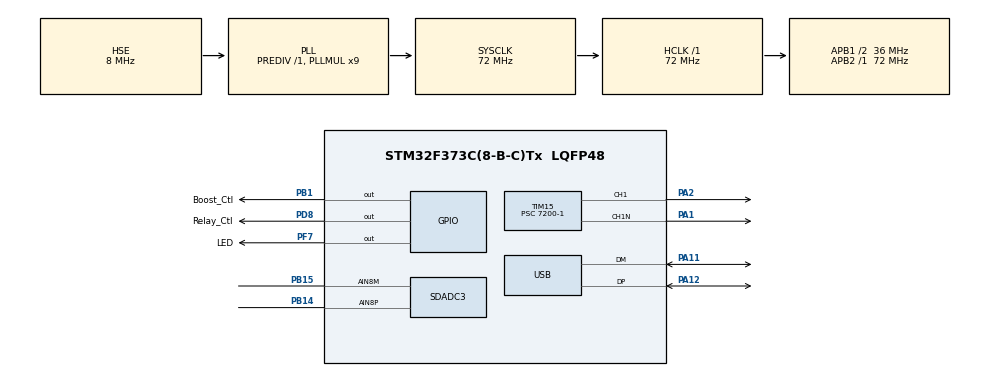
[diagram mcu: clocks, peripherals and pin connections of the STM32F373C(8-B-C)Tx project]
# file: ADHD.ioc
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Mcu.Family=STM32F3
Mcu.Name=STM32F373C(8-B-C)Tx
Mcu.Package=LQFP48
NVIC.PriorityGroup=NVIC_PRIORITYGROUP_4
NVIC.TIM2_IRQn=true\:1\:0\:true\:false\:true\:true\:true\:true
NVIC.TIM3_IRQn=true\:1\:0\:true\:false\:true\:true\:true\:true
NVIC.USB_LP_IRQn=true\:0\:0\:false\:false\:true\:false\:true\:true
PA1.Mode=PWM Generation1 CH1 CH1N
PA1.Signal=TIM15_CH1N
PA11.Mode=Device
PA11.Signal=USB_DM
PA12.Mode=Device
PA12.Signal=USB_DP
PA13.Mode=Serial_Wire
PA13.Signal=SYS_JTMS-SWDIO
PA14.Mode=Serial_Wire
PA14.Signal=SYS_JTCK-SWCLK
PA2.Signal=S_TIM15_CH1
PB1.GPIO_Label=Boost_Ctl
PB1.PinState=GPIO_PIN_SET
PB1.Signal=GPIO_Output
PB14.Mode=IN8-Single-Ended zero reference
PB14.Signal=SDADC3_AIN8P
PB15.Mode=IN8-Differential
PB15.Signal=SDADC3_AIN8M
PD8.GPIO_Label=Relay_Ctl
PD8.PinState=GPIO_PIN_RESET
PD8.Signal=GPIO_Output
PF0-OSC_IN.Mode=HSE-External-Oscillator
PF0-OSC_IN.Signal=RCC_OSC_IN
PF1-OSC_OUT.Mode=HSE-External-Oscillator
PF1-OSC_OUT.Signal=RCC_OSC_OUT
PF7.GPIO_Label=LED
PF7.Signal=GPIO_Output
ProjectManager.HeapSize=0x200
ProjectManager.StackSize=0x400
ProjectManager.TargetToolchain=MDK-ARM V5.32
RCC.AHBFreq_Value=72000000
RCC.APB1CLKDivider=RCC_HCLK_DIV2
RCC.APB1Freq_Value=36000000
RCC.APB1TimFreq_Value=72000000
RCC.APB2Freq_Value=72000000
RCC.APB2TimFreq_Value=72000000
RCC.CortexFreq_Value=72000000
RCC.HCLKFreq_Value=72000000
RCC.HSE_VALUE=8000000
RCC.HSI_VALUE=8000000
RCC.LSE_VALUE=32768
RCC.PLLMUL=RCC_PLL_MUL9
RCC.PRESCALERUSB=RCC_USBCLKSOURCE_PLL_DIV1_5
RCC.SDADCPresc=RCC_SDADCSYSCLK_DIV12
RCC.SYSCLKFreq_VALUE=72000000
RCC.SYSCLKSource=RCC_SYSCLKSOURCE_PLLCLK
RCC.USBFreq_Value=48000000
SDADC3.Channel-0\#ChannelRegularConversion=SDADC_CHANNEL_8
SDADC3.ConfIndex-0\#ChannelRegularConversion=SDADC_CONF_INDEX_0
SDADC3.ContinuousMode=SDADC_CONTINUOUS_CONV_ON
SDADC3.EnableInjectedConversion=DISABLE
SDADC3.EnableRegularconversion=ENABLE
SDADC3.Gain0=SDADC_GAIN_1_2
SDADC3.Gain1=SDADC_GAIN_1_2
SDADC3.InputMode0=SDADC_INPUT_MODE_SE_ZERO_REFERENCE
SDADC3.InputMode1=SDADC_INPUT_MODE_DIFF
SDADC3.NbrOfConversionFlag=1
SDADC3.ReferenceVoltage=SDADC_VREF_VREFINT2
SH.S_TIM15_CH1.0=TIM15_CH1,PWM Generation1 CH1 CH1N
TIM15.Channel-PWM\ Generation1\ CH1\ CH1N=TIM_CHANNEL_1
TIM15.Period=1000-1
TIM15.Prescaler=7200-1
TIM15.Pulse-PWM\ Generation1\ CH1\ CH1N=500
TIM2.Period=24000-1
TIM3.Period=1000-1
TIM3.Prescaler=720-1
USB_DEVICE.CLASS_NAME_FS=CUSTOM_HID
USB_DEVICE.CUSTOM_HID_FS_BINTERVAL=0x1
USB_DEVICE.MANUFACTURER_STRING=PhysioData
USB_DEVICE.PID_CUSTOMHID_FS=0xFA8
USB_DEVICE.PRODUCT_STRING_CUSTOMHID_FS=PhysioAmp GP-8
USB_DEVICE.USBD_CUSTOMHID_OUTREPORT_BUF_SIZE=64
USB_DEVICE.USBD_CUSTOM_HID_REPORT_DESC_SIZE=46
USB_DEVICE.VID=0xEA9
USB_DEVICE.VirtualMode=CustomHid
USB_DEVICE.VirtualModeFS=Custom_Hid_FS
VP_SDADC3_CONF0.Mode=ConfigZero
VP_SDADC3_CONF1.Mode=ConfigUn
VP_TIM15_VS_ClockSourceINT.Mode=Internal
VP_TIM2_VS_ClockSourceINT.Mode=Internal
VP_TIM3_VS_ClockSourceINT.Mode=Internal
VP_USB_DEVICE_VS_USB_DEVICE_CUSTOM_HID_FS.Mode=CUSTOM_HID_FS
board=custom

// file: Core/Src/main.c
/* USER CODE BEGIN Header */
/**
  ******************************************************************************
  * @file           : main.c
  * @brief          : Main program body
  ******************************************************************************
  * @attention
  *
  * Copyright (c) 2026 STMicroelectronics.
  * All rights reserved.
  *
  * This software is licensed under terms that can be found in the LICENSE file
  * in the root directory of this software component.
  * If no LICENSE file comes with this software, it is provided AS-IS.
  *
  ******************************************************************************
  */
/* USER CODE END Header */
#include "main.h"
#include "sdadc.h"
#include "tim.h"
#include "usb_device.h"
#include "gpio.h"

/* USER CODE BEGIN Includes */
#include "app_hid_handler.h"
#include "usbd_customhid.h"
/* USER CODE END Includes */

/* USER CODE BEGIN PD */
#define SIGNAL_SAMPLE_AUTORELOAD       (24000U - 1U)
#define IMPEDANCE_SAMPLE_AUTORELOAD    (72000U - 1U)
/* USER CODE END PD */

/* USER CODE BEGIN PV */
static WorkMode applied_mode = MODE_SIGNAL;
static uint8_t impedance_pwm_running = 0U;
/* USER CODE END PV */

void SystemClock_Config(void);
/* USER CODE BEGIN PFP */
static void APP_ApplyWorkMode(WorkMode mode);
static void APP_UpdateAcquisitionHardware(void);
static void APP_StartImpedanceExcitation(void);
static void APP_StopImpedanceExcitation(void);
static void APP_SynchronizeStreamStart(void);
/* USER CODE END PFP */

/* USER CODE BEGIN 0 */
static void APP_StartImpedanceExcitation(void)
{
  if(impedance_pwm_running == 0U)
  {
    __HAL_TIM_SET_COUNTER(&htim15, 0U);
    __HAL_TIM_CLEAR_FLAG(&htim15, TIM_FLAG_UPDATE);

    if(HAL_TIM_PWM_Start(&htim15, TIM_CHANNEL_1) != HAL_OK)
    {
      Error_Handler();
    }
    if(HAL_TIMEx_PWMN_Start(&htim15, TIM_CHANNEL_1) != HAL_OK)
    {
      (void)HAL_TIM_PWM_Stop(&htim15, TIM_CHANNEL_1);
      Error_Handler();
    }
    impedance_pwm_running = 1U;
  }
}

static void APP_StopImpedanceExcitation(void)
{
  if(impedance_pwm_running != 0U)
  {
    if(HAL_TIMEx_PWMN_Stop(&htim15, TIM_CHANNEL_1) != HAL_OK)
    {
      Error_Handler();
    }
    if(HAL_TIM_PWM_Stop(&htim15, TIM_CHANNEL_1) != HAL_OK)
    {
      Error_Handler();
    }
    impedance_pwm_running = 0U;
  }
}

static void APP_ApplyWorkMode(WorkMode mode)
{
  uint32_t sample_autoreload;

  if(HAL_TIM_Base_Stop_IT(&htim2) != HAL_OK)
  {
    Error_Handler();
  }
  if(mode == MODE_IMPEDANCE)
  {
    sample_autoreload = IMPEDANCE_SAMPLE_AUTORELOAD;
    HAL_GPIO_WritePin(Boost_Ctl_GPIO_Port, Boost_Ctl_Pin, GPIO_PIN_RESET);
  }
  else
  {
    sample_autoreload = SIGNAL_SAMPLE_AUTORELOAD;
    HAL_GPIO_WritePin(Boost_Ctl_GPIO_Port, Boost_Ctl_Pin, GPIO_PIN_SET);
  }

  __HAL_TIM_SET_AUTORELOAD(&htim2, sample_autoreload);
  __HAL_TIM_SET_COUNTER(&htim2, 0U);
  __HAL_TIM_CLEAR_FLAG(&htim2, TIM_FLAG_UPDATE);

  if(HAL_TIM_Base_Start_IT(&htim2) != HAL_OK)
  {
    Error_Handler();
  }
  applied_mode = mode;
}

static void APP_SynchronizeStreamStart(void)
{
  uint32_t primask;

  if(HAL_TIM_Base_Stop_IT(&htim2) != HAL_OK)
  {
    Error_Handler();
  }
  APP_StopImpedanceExcitation();

  __HAL_TIM_SET_COUNTER(&htim15, 0U);
  __HAL_TIM_SET_COUNTER(&htim2, 0U);
  __HAL_TIM_CLEAR_FLAG(&htim15, TIM_FLAG_UPDATE);
  __HAL_TIM_CLEAR_FLAG(&htim2, TIM_FLAG_UPDATE);

  primask = __get_PRIMASK();
  __disable_irq();

  if(current_mode == MODE_IMPEDANCE)
  {
    APP_StartImpedanceExcitation();
  }
  if(HAL_TIM_Base_Start_IT(&htim2) != HAL_OK)
  {
    Error_Handler();
  }
  /* 最后进入流状态，保证 TIM2 不会在激励启动前写入首个样本。 */
  comm_state = STATE_STREAMING;
  __set_PRIMASK(primask);
}

static void APP_UpdateAcquisitionHardware(void)
{
  uint8_t excitation_required;

  if(current_mode != applied_mode)
  {
    APP_StopImpedanceExcitation();
    APP_ApplyWorkMode(current_mode);
  }

  if(comm_state == STATE_START_STREAMING)
  {
    APP_SynchronizeStreamStart();
    return;
  }

  excitation_required = ((current_mode == MODE_IMPEDANCE) &&
                         (comm_state == STATE_STREAMING)) ? 1U : 0U;

  if((excitation_required != 0U) && (impedance_pwm_running == 0U))
  {
    APP_StartImpedanceExcitation();
  }
  else if(excitation_required == 0U)
  {
    APP_StopImpedanceExcitation();
  }
}

/* USER CODE END 0 */

int main(void)
{

  /* MCU Configuration--------------------------------------------------------*/

  /* Reset of all peripherals, Initializes the Flash interface and the Systick. */
  HAL_Init();

  /* Configure the system clock */
  SystemClock_Config();

  /* USER CODE BEGIN SysInit */
  //这是要提交git的代码
  /* USER CODE END SysInit */

  /* Initialize all configured peripherals */
  MX_GPIO_Init();
  MX_USB_DEVICE_Init();
  MX_SDADC3_Init();
  MX_TIM15_Init();
  MX_TIM2_Init();
  MX_TIM3_Init();
  /* USER CODE BEGIN 2 */
  /* USB枚举后保持模拟电源关闭；收到上位机有效命令后再由协议层吸合继电器。 */
  HAL_GPIO_WritePin(Boost_Ctl_GPIO_Port, Boost_Ctl_Pin, GPIO_PIN_SET);
  HAL_GPIO_WritePin(Relay_Ctl_GPIO_Port, Relay_Ctl_Pin, GPIO_PIN_RESET);

  /* CONF0为单端零参考，CONF1为差分输入；启动时校准两套配置。 */
  if(HAL_SDADC_CalibrationStart(&hsdadc3, SDADC_CALIBRATION_SEQ_2) != HAL_OK)
  {
    Error_Handler();
  }
  if(HAL_SDADC_PollForCalibEvent(&hsdadc3, HAL_MAX_DELAY) != HAL_OK)
  {
    Error_Handler();
  }
  if(HAL_SDADC_Start(&hsdadc3) != HAL_OK)
  {
    Error_Handler();
  }
  /* TIM15 只在阻抗流模式开启；TIM2 默认按信号模式采样。 */
  if(HAL_TIM_Base_Start_IT(&htim2) != HAL_OK)
  {
    Error_Handler();
  }
  /* USER CODE END 2 */

  /* Infinite loop */
  /* USER CODE BEGIN WHILE */
  while (1)
  {
    while(APP_DeviceCustomHIDProcessNextReport() != 0U)
    {
      /* 一次处理完队列中的报告，保证 0xF8 先于紧随其后的 0x80 生效。 */
    }

    APP_UpdateAcquisitionHardware();

    if((comm_state == STATE_STREAMING) &&
    (USB_BuildAndSendDataFrame() != 0U))
    {
			static uint8_t LED_Count = 0;
			if(LED_Count==0)HAL_GPIO_TogglePin(LED_GPIO_Port, LED_Pin);
			LED_Count--;
    }
    /* USER CODE END WHILE */

  }
}

void SystemClock_Config(void)
{
  RCC_OscInitTypeDef RCC_OscInitStruct = {0};
  RCC_ClkInitTypeDef RCC_ClkInitStruct = {0};
  RCC_PeriphCLKInitTypeDef PeriphClkInit = {0};

  /** Initializes the RCC Oscillators according to the specified parameters
  * in the RCC_OscInitTypeDef structure.
  */
  RCC_OscInitStruct.OscillatorType = RCC_OSCILLATORTYPE_HSE;
  RCC_OscInitStruct.HSEState = RCC_HSE_ON;
  RCC_OscInitStruct.HSEPredivValue = RCC_HSE_PREDIV_DIV1;
  RCC_OscInitStruct.HSIState = RCC_HSI_ON;
  RCC_OscInitStruct.PLL.PLLState = RCC_PLL_ON;
  RCC_OscInitStruct.PLL.PLLSource = RCC_PLLSOURCE_HSE;
  RCC_OscInitStruct.PLL.PLLMUL = RCC_PLL_MUL9;
  if (HAL_RCC_OscConfig(&RCC_OscInitStruct) != HAL_OK)
  {
    Error_Handler();
  }

  /** Initializes the CPU, AHB and APB buses clocks
  */
  RCC_ClkInitStruct.ClockType = RCC_CLOCKTYPE_HCLK|RCC_CLOCKTYPE_SYSCLK
                              |RCC_CLOCKTYPE_PCLK1|RCC_CLOCKTYPE_PCLK2;
  RCC_ClkInitStruct.SYSCLKSource = RCC_SYSCLKSOURCE_PLLCLK;
  RCC_ClkInitStruct.AHBCLKDivider = RCC_SYSCLK_DIV1;
  RCC_ClkInitStruct.APB1CLKDivider = RCC_HCLK_DIV2;
  RCC_ClkInitStruct.APB2CLKDivider = RCC_HCLK_DIV1;

  if (HAL_RCC_ClockConfig(&RCC_ClkInitStruct, FLASH_LATENCY_2) != HAL_OK)
  {
    Error_Handler();
  }
  PeriphClkInit.PeriphClockSelection = RCC_PERIPHCLK_USB|RCC_PERIPHCLK_SDADC;
  PeriphClkInit.USBClockSelection = RCC_USBCLKSOURCE_PLL_DIV1_5;
  PeriphClkInit.SdadcClockSelection = RCC_SDADCSYSCLK_DIV12;
  if (HAL_RCCEx_PeriphCLKConfig(&PeriphClkInit) != HAL_OK)
  {
    Error_Handler();
  }
  HAL_PWREx_EnableSDADC(PWR_SDADC_ANALOG3);
}

/* USER CODE BEGIN 4 */
/* TIM2: 信号模式 3kHz，阻抗模式 1kHz；每 30 点形成一帧。 */
void HAL_TIM_PeriodElapsedCallback(TIM_HandleTypeDef *htim)
{
  if(htim->Instance == TIM2)
  {
    if(comm_state == STATE_STREAMING)
    {
      int16_t adc_value;

      adc_value = (int16_t)HAL_SDADC_GetValue(&hsdadc3);
      APP_PushADCSample((uint16_t)(((int32_t)adc_value+32768)));
    }
  }
}
/* USER CODE END 4 */

void Error_Handler(void)
{
  __disable_irq();
  while (1)
  {
  }
}
